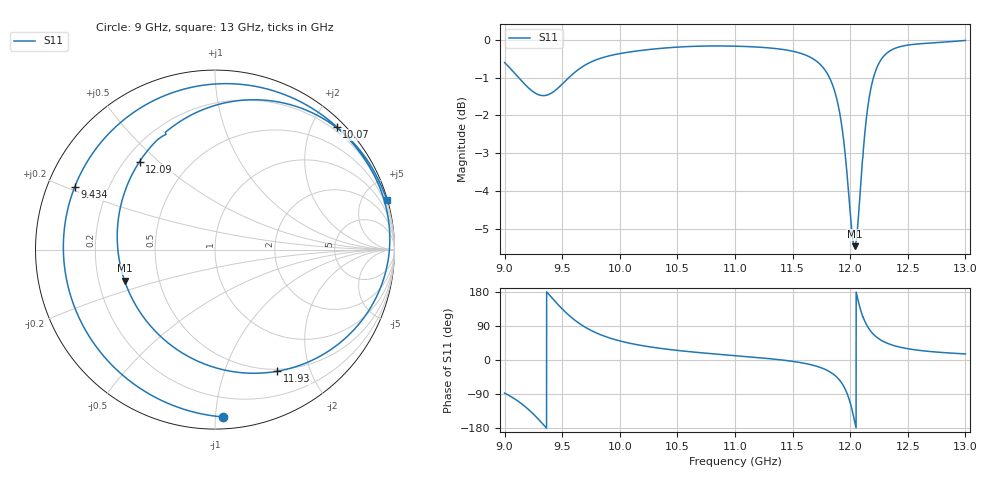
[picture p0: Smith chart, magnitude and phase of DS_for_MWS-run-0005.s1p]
! TOUCHSTONE file generated by CST DESIGN STUDIO
! Date and time: Tue Feb  4 14:34:05 2025
! Project name: C:\Work\MatlabApps\UnitCellOptimizationMatlab\CST\unitcell.cst
! Tree item: Tasks\Sweep1\SPara1\S-Parameters
! Header version: 2024
! Port assignment regex: !\s*Touchstone port\s*([0-9]+)\s*=\s*(CST MWS port|CST DES external port|CST DES block port)\s*(.+)\s* \(\"(.*)\"\)(\s*mode\s*([0-9]+))?.*
! Touchstone port assignment:
! Touchstone port 1 = CST DES external port 1 ("")
# GHz S MA R 50
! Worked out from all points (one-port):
!   4001 points, 9 GHz to 13 GHz, reference 50 ohm
!   lowest |S11| = -5.5 dB at 12.04 GHz (marker M1), VSWR 3.28, Z = 15.6 - j7.53 ohm
!   |S11| at or under -10 dB: nowhere
!   S11 on the Smith chart (normalised r, x): 9 GHz: 0.07, -1.05; 9.434 GHz: 0.08, +0.21; 10.07 GHz: 0.13, +2.39; 11.93 GHz: 0.47, -1.53; 12.09 GHz: 0.26, +0.43; 13 GHz: 0.04, +7.10
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9  0.9334 -87.3
9.114  0.894 -108.1
9.211  0.8628 -131.6
9.332  0.8438 -169.0
9.434  0.8559 156.1
9.5  0.874 134.8
9.584  0.899 111.3
9.678  0.9221 90.6
9.827  0.945 67.5
10  0.9592 50.4
10.07  0.9632 45.3
10.5  0.9784 25.3
11  0.9812 11.5
11.5  0.9663 -3.5
11.79  0.908 -25.8
11.869  0.8513 -41.1
11.931  0.7614 -62.9
11.969  0.6736 -85.4
12  0.5905 -113.0
12.038  0.5328 -161.1
12.064  0.5639 162.9
12.092  0.6458 130.6
12.121  0.7353 106.4
12.153  0.8154 87.1
12.251  0.9324 55.5
12.351  0.9685 40.8
12.5  0.9845 29.8
13  0.9985 16.0
